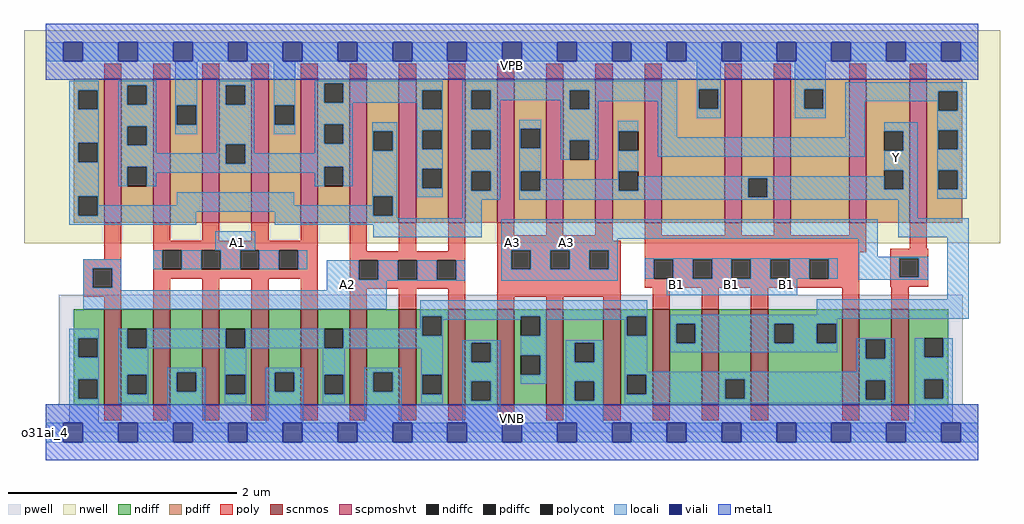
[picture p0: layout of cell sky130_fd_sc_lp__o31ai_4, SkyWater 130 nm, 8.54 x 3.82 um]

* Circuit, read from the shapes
.subckt sky130_fd_sc_lp__o31ai_4 A1 A2 A3 B1 VGND VNB VPB VPWR Y
XM1 n1 A2 VGND VNB sky130_fd_pr__nfet_01v8 w=0.84 l=0.15 m=4
XM2 VGND A1 n1 VNB sky130_fd_pr__nfet_01v8 w=0.84 l=0.15 m=4
XM3 n1 A3 VGND VNB sky130_fd_pr__nfet_01v8 w=0.84 l=0.15 m=4
XM4 Y B1 n1 VNB sky130_fd_pr__nfet_01v8 w=0.84 l=0.15 m=4
XM5 n2 A2 n3 VPB sky130_fd_pr__pfet_01v8_hvt w=1.26 l=0.15 m=4
XM6 VPWR A1 n2 VPB sky130_fd_pr__pfet_01v8_hvt w=1.26 l=0.15 m=4
XM7 Y A3 n3 VPB sky130_fd_pr__pfet_01v8_hvt w=1.26 l=0.15 m=4
XM8 VPWR B1 Y VPB sky130_fd_pr__pfet_01v8_hvt w=1.26 l=0.15 m=4
.ends

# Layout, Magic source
magic
tech sky130A
magscale 1 2
<< nwell >>
rect -38 331 1670 704
<< pwell >>
rect 23 49 1605 241
rect 0 0 1632 49
<< scnmos >>
rect 102 47 132 215
rect 188 47 218 215
rect 274 47 304 215
rect 360 47 390 215
rect 446 47 476 215
rect 532 47 562 215
rect 618 47 648 215
rect 704 47 734 215
rect 790 47 820 215
rect 876 47 906 215
rect 976 47 1006 215
rect 1062 47 1092 215
rect 1148 47 1178 215
rect 1234 47 1264 215
rect 1394 47 1424 215
rect 1480 47 1510 215
<< scpmoshvt >>
rect 102 367 132 619
rect 188 367 218 619
rect 274 367 304 619
rect 360 367 390 619
rect 446 367 476 619
rect 532 367 562 619
rect 618 367 648 619
rect 704 367 734 619
rect 790 367 820 619
rect 876 367 906 619
rect 962 367 992 619
rect 1048 367 1078 619
rect 1188 367 1218 619
rect 1274 367 1304 619
rect 1406 367 1436 619
rect 1512 367 1542 619
<< ndiff >>
rect 49 165 102 215
rect 49 131 57 165
rect 91 131 102 165
rect 49 93 102 131
rect 49 59 57 93
rect 91 59 102 93
rect 49 47 102 59
rect 132 181 188 215
rect 132 147 143 181
rect 177 147 188 181
rect 132 101 188 147
rect 132 67 143 101
rect 177 67 188 101
rect 132 47 188 67
rect 218 105 274 215
rect 218 71 229 105
rect 263 71 274 105
rect 218 47 274 71
rect 304 181 360 215
rect 304 147 315 181
rect 349 147 360 181
rect 304 101 360 147
rect 304 67 315 101
rect 349 67 360 101
rect 304 47 360 67
rect 390 105 446 215
rect 390 71 401 105
rect 435 71 446 105
rect 390 47 446 71
rect 476 181 532 215
rect 476 147 487 181
rect 521 147 532 181
rect 476 101 532 147
rect 476 67 487 101
rect 521 67 532 101
rect 476 47 532 67
rect 562 105 618 215
rect 562 71 573 105
rect 607 71 618 105
rect 562 47 618 71
rect 648 203 704 215
rect 648 169 659 203
rect 693 169 704 203
rect 648 101 704 169
rect 648 67 659 101
rect 693 67 704 101
rect 648 47 704 67
rect 734 157 790 215
rect 734 123 745 157
rect 779 123 790 157
rect 734 89 790 123
rect 734 55 745 89
rect 779 55 790 89
rect 734 47 790 55
rect 820 203 876 215
rect 820 169 831 203
rect 865 169 876 203
rect 820 135 876 169
rect 820 101 831 135
rect 865 101 876 135
rect 820 47 876 101
rect 906 157 976 215
rect 906 123 926 157
rect 960 123 976 157
rect 906 89 976 123
rect 906 55 926 89
rect 960 55 976 89
rect 906 47 976 55
rect 1006 203 1062 215
rect 1006 169 1017 203
rect 1051 169 1062 203
rect 1006 101 1062 169
rect 1006 67 1017 101
rect 1051 67 1062 101
rect 1006 47 1062 67
rect 1092 190 1148 215
rect 1092 156 1103 190
rect 1137 156 1148 190
rect 1092 47 1148 156
rect 1178 93 1234 215
rect 1178 59 1189 93
rect 1223 59 1234 93
rect 1178 47 1234 59
rect 1264 190 1394 215
rect 1264 156 1275 190
rect 1309 156 1349 190
rect 1383 156 1394 190
rect 1264 47 1394 156
rect 1424 163 1480 215
rect 1424 129 1435 163
rect 1469 129 1480 163
rect 1424 91 1480 129
rect 1424 57 1435 91
rect 1469 57 1480 91
rect 1424 47 1480 57
rect 1510 165 1579 215
rect 1510 131 1537 165
rect 1571 131 1579 165
rect 1510 93 1579 131
rect 1510 59 1537 93
rect 1571 59 1579 93
rect 1510 47 1579 59
<< pdiff >>
rect 49 599 102 619
rect 49 565 57 599
rect 91 565 102 599
rect 49 507 102 565
rect 49 473 57 507
rect 91 473 102 507
rect 49 413 102 473
rect 49 379 57 413
rect 91 379 102 413
rect 49 367 102 379
rect 132 607 188 619
rect 132 573 143 607
rect 177 573 188 607
rect 132 536 188 573
rect 132 502 143 536
rect 177 502 188 536
rect 132 465 188 502
rect 132 431 143 465
rect 177 431 188 465
rect 132 367 188 431
rect 218 572 274 619
rect 218 538 229 572
rect 263 538 274 572
rect 218 367 274 538
rect 304 607 360 619
rect 304 573 315 607
rect 349 573 360 607
rect 304 504 360 573
rect 304 470 315 504
rect 349 470 360 504
rect 304 367 360 470
rect 390 572 446 619
rect 390 538 401 572
rect 435 538 446 572
rect 390 367 446 538
rect 476 611 532 619
rect 476 577 487 611
rect 521 577 532 611
rect 476 539 532 577
rect 476 505 487 539
rect 521 505 532 539
rect 476 465 532 505
rect 476 431 487 465
rect 521 431 532 465
rect 476 367 532 431
rect 562 527 618 619
rect 562 493 573 527
rect 607 493 618 527
rect 562 413 618 493
rect 562 379 573 413
rect 607 379 618 413
rect 562 367 618 379
rect 648 599 704 619
rect 648 565 659 599
rect 693 565 704 599
rect 648 529 704 565
rect 648 495 659 529
rect 693 495 704 529
rect 648 461 704 495
rect 648 427 659 461
rect 693 427 704 461
rect 648 367 704 427
rect 734 599 790 619
rect 734 565 745 599
rect 779 565 790 599
rect 734 529 790 565
rect 734 495 745 529
rect 779 495 790 529
rect 734 457 790 495
rect 734 423 745 457
rect 779 423 790 457
rect 734 367 790 423
rect 820 531 876 619
rect 820 497 831 531
rect 865 497 876 531
rect 820 457 876 497
rect 820 423 831 457
rect 865 423 876 457
rect 820 367 876 423
rect 906 599 962 619
rect 906 565 917 599
rect 951 565 962 599
rect 906 511 962 565
rect 906 477 917 511
rect 951 477 962 511
rect 906 367 962 477
rect 992 527 1048 619
rect 992 493 1003 527
rect 1037 493 1048 527
rect 992 457 1048 493
rect 992 423 1003 457
rect 1037 423 1048 457
rect 992 367 1048 423
rect 1078 600 1188 619
rect 1078 566 1143 600
rect 1177 566 1188 600
rect 1078 367 1188 566
rect 1218 445 1274 619
rect 1218 411 1229 445
rect 1263 411 1274 445
rect 1218 367 1274 411
rect 1304 600 1406 619
rect 1304 566 1327 600
rect 1361 566 1406 600
rect 1304 367 1406 566
rect 1436 527 1512 619
rect 1436 493 1467 527
rect 1501 493 1512 527
rect 1436 459 1512 493
rect 1436 425 1467 459
rect 1501 425 1512 459
rect 1436 367 1512 425
rect 1542 597 1604 619
rect 1542 563 1562 597
rect 1596 563 1604 597
rect 1542 529 1604 563
rect 1542 495 1562 529
rect 1596 495 1604 529
rect 1542 459 1604 495
rect 1542 425 1562 459
rect 1596 425 1604 459
rect 1542 367 1604 425
<< ndiffc >>
rect 57 131 91 165
rect 57 59 91 93
rect 143 147 177 181
rect 143 67 177 101
rect 229 71 263 105
rect 315 147 349 181
rect 315 67 349 101
rect 401 71 435 105
rect 487 147 521 181
rect 487 67 521 101
rect 573 71 607 105
rect 659 169 693 203
rect 659 67 693 101
rect 745 123 779 157
rect 745 55 779 89
rect 831 169 865 203
rect 831 101 865 135
rect 926 123 960 157
rect 926 55 960 89
rect 1017 169 1051 203
rect 1017 67 1051 101
rect 1103 156 1137 190
rect 1189 59 1223 93
rect 1275 156 1309 190
rect 1349 156 1383 190
rect 1435 129 1469 163
rect 1435 57 1469 91
rect 1537 131 1571 165
rect 1537 59 1571 93
<< pdiffc >>
rect 57 565 91 599
rect 57 473 91 507
rect 57 379 91 413
rect 143 573 177 607
rect 143 502 177 536
rect 143 431 177 465
rect 229 538 263 572
rect 315 573 349 607
rect 315 470 349 504
rect 401 538 435 572
rect 487 577 521 611
rect 487 505 521 539
rect 487 431 521 465
rect 573 493 607 527
rect 573 379 607 413
rect 659 565 693 599
rect 659 495 693 529
rect 659 427 693 461
rect 745 565 779 599
rect 745 495 779 529
rect 745 423 779 457
rect 831 497 865 531
rect 831 423 865 457
rect 917 565 951 599
rect 917 477 951 511
rect 1003 493 1037 527
rect 1003 423 1037 457
rect 1143 566 1177 600
rect 1229 411 1263 445
rect 1327 566 1361 600
rect 1467 493 1501 527
rect 1467 425 1501 459
rect 1562 563 1596 597
rect 1562 495 1596 529
rect 1562 425 1596 459
<< poly >>
rect 102 619 132 645
rect 188 619 218 645
rect 274 619 304 645
rect 360 619 390 645
rect 446 619 476 645
rect 532 619 562 645
rect 618 619 648 645
rect 704 619 734 645
rect 790 619 820 645
rect 876 619 906 645
rect 962 619 992 645
rect 1048 619 1078 645
rect 1188 619 1218 645
rect 1274 619 1304 645
rect 1406 619 1436 645
rect 1512 619 1542 645
rect 102 303 132 367
rect 66 287 132 303
rect 66 253 82 287
rect 116 253 132 287
rect 66 237 132 253
rect 102 215 132 237
rect 188 335 218 367
rect 274 335 304 367
rect 360 335 390 367
rect 446 335 476 367
rect 188 319 476 335
rect 188 285 204 319
rect 238 285 272 319
rect 306 285 340 319
rect 374 285 408 319
rect 442 285 476 319
rect 188 269 476 285
rect 188 215 218 269
rect 274 215 304 269
rect 360 215 390 269
rect 446 215 476 269
rect 532 317 562 367
rect 618 317 648 367
rect 704 317 734 367
rect 532 301 734 317
rect 532 267 548 301
rect 582 267 616 301
rect 650 267 684 301
rect 718 267 734 301
rect 532 251 734 267
rect 532 215 562 251
rect 618 215 648 251
rect 704 215 734 251
rect 790 345 820 367
rect 876 345 906 367
rect 962 345 992 367
rect 790 335 992 345
rect 1048 345 1078 367
rect 1188 345 1218 367
rect 1274 345 1304 367
rect 1406 345 1436 367
rect 790 319 1006 335
rect 790 285 815 319
rect 849 285 883 319
rect 917 285 951 319
rect 985 285 1006 319
rect 790 237 1006 285
rect 1048 315 1436 345
rect 1512 321 1542 367
rect 1048 303 1424 315
rect 1048 269 1064 303
rect 1098 269 1132 303
rect 1166 269 1200 303
rect 1234 269 1268 303
rect 1302 269 1336 303
rect 1370 269 1424 303
rect 1048 253 1424 269
rect 1478 305 1544 321
rect 1478 271 1494 305
rect 1528 271 1544 305
rect 1478 255 1544 271
rect 790 215 820 237
rect 876 215 906 237
rect 976 215 1006 237
rect 1062 215 1092 253
rect 1148 215 1178 253
rect 1234 215 1264 253
rect 1394 215 1424 253
rect 1480 215 1510 255
rect 102 21 132 47
rect 188 21 218 47
rect 274 21 304 47
rect 360 21 390 47
rect 446 21 476 47
rect 532 21 562 47
rect 618 21 648 47
rect 704 21 734 47
rect 790 21 820 47
rect 876 21 906 47
rect 976 21 1006 47
rect 1062 21 1092 47
rect 1148 21 1178 47
rect 1234 21 1264 47
rect 1394 21 1424 47
rect 1480 21 1510 47
<< polycont >>
rect 82 253 116 287
rect 204 285 238 319
rect 272 285 306 319
rect 340 285 374 319
rect 408 285 442 319
rect 548 267 582 301
rect 616 267 650 301
rect 684 267 718 301
rect 815 285 849 319
rect 883 285 917 319
rect 951 285 985 319
rect 1064 269 1098 303
rect 1132 269 1166 303
rect 1200 269 1234 303
rect 1268 269 1302 303
rect 1336 269 1370 303
rect 1494 271 1528 305
<< locali >>
rect 0 649 31 683
rect 65 649 127 683
rect 161 649 223 683
rect 257 649 319 683
rect 353 649 415 683
rect 449 649 511 683
rect 545 649 607 683
rect 641 649 703 683
rect 737 649 799 683
rect 833 649 895 683
rect 929 649 991 683
rect 1025 649 1087 683
rect 1121 649 1183 683
rect 1217 649 1279 683
rect 1313 649 1375 683
rect 1409 649 1471 683
rect 1505 649 1567 683
rect 1601 649 1632 683
rect 41 599 93 615
rect 41 565 57 599
rect 91 565 93 599
rect 41 507 93 565
rect 41 473 57 507
rect 91 473 93 507
rect 41 413 93 473
rect 127 607 193 615
rect 127 573 143 607
rect 177 573 193 607
rect 127 536 193 573
rect 127 502 143 536
rect 177 502 193 536
rect 227 572 265 649
rect 227 538 229 572
rect 263 538 265 572
rect 227 522 265 538
rect 299 607 365 615
rect 299 573 315 607
rect 349 573 365 607
rect 127 488 193 502
rect 299 504 365 573
rect 399 572 437 649
rect 399 538 401 572
rect 435 538 437 572
rect 399 522 437 538
rect 471 611 695 615
rect 471 577 487 611
rect 521 599 695 611
rect 521 577 659 599
rect 471 539 537 577
rect 649 565 659 577
rect 693 565 695 599
rect 299 488 315 504
rect 127 470 315 488
rect 349 488 365 504
rect 471 505 487 539
rect 521 505 537 539
rect 471 488 537 505
rect 349 470 537 488
rect 127 465 537 470
rect 127 431 143 465
rect 177 454 487 465
rect 177 431 193 454
rect 471 431 487 454
rect 521 431 537 465
rect 571 527 615 543
rect 571 493 573 527
rect 607 493 615 527
rect 41 379 57 413
rect 91 397 93 413
rect 229 397 435 420
rect 571 413 615 493
rect 571 397 573 413
rect 91 386 573 397
rect 91 379 263 386
rect 41 363 263 379
rect 401 379 573 386
rect 607 379 615 413
rect 649 529 695 565
rect 649 495 659 529
rect 693 495 695 529
rect 649 461 695 495
rect 649 427 659 461
rect 693 427 695 461
rect 649 411 695 427
rect 729 599 1105 615
rect 729 565 745 599
rect 779 581 917 599
rect 779 565 795 581
rect 729 529 795 565
rect 901 565 917 581
rect 951 579 1105 599
rect 951 565 967 579
rect 729 495 745 529
rect 779 495 795 529
rect 729 457 795 495
rect 729 423 745 457
rect 779 423 795 457
rect 401 375 615 379
rect 729 407 795 423
rect 829 531 867 547
rect 829 497 831 531
rect 865 497 867 531
rect 829 457 867 497
rect 901 511 967 565
rect 901 477 917 511
rect 951 477 967 511
rect 1001 527 1037 545
rect 1001 493 1003 527
rect 829 423 831 457
rect 865 443 867 457
rect 1001 457 1037 493
rect 1071 516 1105 579
rect 1139 600 1181 649
rect 1139 566 1143 600
rect 1177 566 1181 600
rect 1139 550 1181 566
rect 1311 600 1365 649
rect 1311 566 1327 600
rect 1361 566 1365 600
rect 1311 550 1365 566
rect 1399 597 1612 613
rect 1399 579 1562 597
rect 1399 516 1433 579
rect 1560 563 1562 579
rect 1596 563 1612 597
rect 1071 482 1433 516
rect 1467 527 1526 543
rect 1501 493 1526 527
rect 1001 443 1003 457
rect 865 423 1003 443
rect 1467 459 1526 493
rect 1037 445 1467 448
rect 1037 423 1229 445
rect 829 411 1229 423
rect 1263 425 1467 445
rect 1501 425 1526 459
rect 1263 411 1526 425
rect 829 407 1526 411
rect 1560 529 1612 563
rect 1560 495 1562 529
rect 1596 495 1612 529
rect 1560 459 1612 495
rect 1560 425 1562 459
rect 1596 425 1612 459
rect 1560 409 1612 425
rect 729 375 763 407
rect 401 363 763 375
rect 1492 375 1526 407
rect 297 319 367 352
rect 573 341 763 363
rect 797 339 1456 373
rect 1492 341 1615 375
rect 797 319 1001 339
rect 66 287 132 303
rect 66 253 82 287
rect 116 253 132 287
rect 188 285 204 319
rect 238 285 272 319
rect 306 285 340 319
rect 374 285 408 319
rect 442 285 458 319
rect 66 249 132 253
rect 492 267 548 301
rect 582 267 616 301
rect 650 267 684 301
rect 718 267 734 301
rect 492 265 734 267
rect 797 285 815 319
rect 849 285 883 319
rect 917 285 951 319
rect 985 285 1001 319
rect 1422 307 1456 339
rect 1422 305 1544 307
rect 797 265 1001 285
rect 1048 303 1386 305
rect 1048 269 1064 303
rect 1098 269 1132 303
rect 1166 269 1200 303
rect 1234 269 1268 303
rect 1302 269 1336 303
rect 1370 269 1386 303
rect 1422 271 1494 305
rect 1528 271 1544 305
rect 492 249 597 265
rect 66 215 597 249
rect 1087 240 1315 269
rect 1422 267 1544 271
rect 1578 233 1615 341
rect 655 203 1053 231
rect 1349 206 1615 233
rect 655 181 659 203
rect 41 165 93 181
rect 41 131 57 165
rect 91 131 93 165
rect 41 93 93 131
rect 41 59 57 93
rect 91 59 93 93
rect 41 17 93 59
rect 127 147 143 181
rect 177 147 315 181
rect 349 147 487 181
rect 521 169 659 181
rect 693 197 831 203
rect 693 169 695 197
rect 521 147 695 169
rect 865 197 1017 203
rect 865 169 876 197
rect 127 101 179 147
rect 127 67 143 101
rect 177 67 179 101
rect 127 51 179 67
rect 213 105 279 113
rect 213 71 229 105
rect 263 71 279 105
rect 213 17 279 71
rect 313 101 351 147
rect 313 67 315 101
rect 349 67 351 101
rect 313 51 351 67
rect 385 105 451 113
rect 385 71 401 105
rect 435 71 451 105
rect 385 17 451 71
rect 485 101 523 147
rect 485 67 487 101
rect 521 67 523 101
rect 485 51 523 67
rect 557 105 623 113
rect 557 71 573 105
rect 607 71 623 105
rect 557 17 623 71
rect 657 101 695 147
rect 657 67 659 101
rect 693 67 695 101
rect 657 51 695 67
rect 729 157 795 161
rect 729 123 745 157
rect 779 123 795 157
rect 729 89 795 123
rect 729 55 745 89
rect 779 55 795 89
rect 831 135 876 169
rect 1013 169 1017 197
rect 1051 169 1053 203
rect 865 101 876 135
rect 831 85 876 101
rect 910 157 976 161
rect 910 123 926 157
rect 960 123 976 157
rect 910 89 976 123
rect 729 17 795 55
rect 910 55 926 89
rect 960 55 976 89
rect 910 17 976 55
rect 1013 106 1053 169
rect 1093 199 1615 206
rect 1093 190 1385 199
rect 1093 156 1103 190
rect 1137 156 1275 190
rect 1309 156 1349 190
rect 1383 156 1385 190
rect 1093 140 1385 156
rect 1419 163 1485 165
rect 1419 129 1435 163
rect 1469 129 1485 163
rect 1419 106 1485 129
rect 1013 101 1485 106
rect 1013 67 1017 101
rect 1051 93 1485 101
rect 1051 67 1189 93
rect 1013 59 1189 67
rect 1223 91 1485 93
rect 1223 59 1435 91
rect 1013 57 1435 59
rect 1469 57 1485 91
rect 1013 51 1485 57
rect 1521 131 1537 165
rect 1571 131 1587 165
rect 1521 93 1587 131
rect 1521 59 1537 93
rect 1571 59 1587 93
rect 1521 17 1587 59
rect 0 -17 31 17
rect 65 -17 127 17
rect 161 -17 223 17
rect 257 -17 319 17
rect 353 -17 415 17
rect 449 -17 511 17
rect 545 -17 607 17
rect 641 -17 703 17
rect 737 -17 799 17
rect 833 -17 895 17
rect 929 -17 991 17
rect 1025 -17 1087 17
rect 1121 -17 1183 17
rect 1217 -17 1279 17
rect 1313 -17 1375 17
rect 1409 -17 1471 17
rect 1505 -17 1567 17
rect 1601 -17 1632 17
<< viali >>
rect 31 649 65 683
rect 127 649 161 683
rect 223 649 257 683
rect 319 649 353 683
rect 415 649 449 683
rect 511 649 545 683
rect 607 649 641 683
rect 703 649 737 683
rect 799 649 833 683
rect 895 649 929 683
rect 991 649 1025 683
rect 1087 649 1121 683
rect 1183 649 1217 683
rect 1279 649 1313 683
rect 1375 649 1409 683
rect 1471 649 1505 683
rect 1567 649 1601 683
rect 31 -17 65 17
rect 127 -17 161 17
rect 223 -17 257 17
rect 319 -17 353 17
rect 415 -17 449 17
rect 511 -17 545 17
rect 607 -17 641 17
rect 703 -17 737 17
rect 799 -17 833 17
rect 895 -17 929 17
rect 991 -17 1025 17
rect 1087 -17 1121 17
rect 1183 -17 1217 17
rect 1279 -17 1313 17
rect 1375 -17 1409 17
rect 1471 -17 1505 17
rect 1567 -17 1601 17
<< metal1 >>
rect 0 683 1632 715
rect 0 649 31 683
rect 65 649 127 683
rect 161 649 223 683
rect 257 649 319 683
rect 353 649 415 683
rect 449 649 511 683
rect 545 649 607 683
rect 641 649 703 683
rect 737 649 799 683
rect 833 649 895 683
rect 929 649 991 683
rect 1025 649 1087 683
rect 1121 649 1183 683
rect 1217 649 1279 683
rect 1313 649 1375 683
rect 1409 649 1471 683
rect 1505 649 1567 683
rect 1601 649 1632 683
rect 0 617 1632 649
rect 0 17 1632 49
rect 0 -17 31 17
rect 65 -17 127 17
rect 161 -17 223 17
rect 257 -17 319 17
rect 353 -17 415 17
rect 449 -17 511 17
rect 545 -17 607 17
rect 641 -17 703 17
rect 737 -17 799 17
rect 833 -17 895 17
rect 929 -17 991 17
rect 1025 -17 1087 17
rect 1121 -17 1183 17
rect 1217 -17 1279 17
rect 1313 -17 1375 17
rect 1409 -17 1471 17
rect 1505 -17 1567 17
rect 1601 -17 1632 17
rect 0 -49 1632 -17
<< labels >>
flabel pwell s 0 0 1632 49 0 FreeSans 200 0 0 0 VNB
port 6 nsew ground bidirectional
flabel nwell s 0 617 1632 666 0 FreeSans 200 0 0 0 VPB
port 7 nsew power bidirectional
rlabel comment s 0 0 0 0 4 o31ai_4
flabel metal1 s 0 617 1632 666 0 FreeSans 340 0 0 0 VPWR
port 8 nsew power bidirectional
flabel metal1 s 0 0 1632 49 0 FreeSans 340 0 0 0 VGND
port 5 nsew ground bidirectional
flabel locali s 319 316 353 350 0 FreeSans 340 0 0 0 A1
port 1 nsew signal input
flabel locali s 511 242 545 276 0 FreeSans 340 0 0 0 A2
port 2 nsew signal input
flabel locali s 799 316 833 350 0 FreeSans 340 0 0 0 A3
port 3 nsew signal input
flabel locali s 895 316 929 350 0 FreeSans 340 0 0 0 A3
port 3 nsew signal input
flabel locali s 1471 464 1505 498 0 FreeSans 340 0 0 0 Y
port 9 nsew signal output
flabel locali s 1087 242 1121 276 0 FreeSans 340 0 0 0 B1
port 4 nsew signal input
flabel locali s 1183 242 1217 276 0 FreeSans 340 0 0 0 B1
port 4 nsew signal input
flabel locali s 1279 242 1313 276 0 FreeSans 340 0 0 0 B1
port 4 nsew signal input
<< properties >>
string LEFsite unit
string LEFclass CORE
string FIXED_BBOX 0 0 1632 666
string GDS_FILE $PDKPATH/libs.ref/sky130_fd_sc_lp/gds/sky130_fd_sc_lp.gds
string LEFsymmetry X Y R90
string GDS_END 260084
string GDS_START 247222
<< end >>
